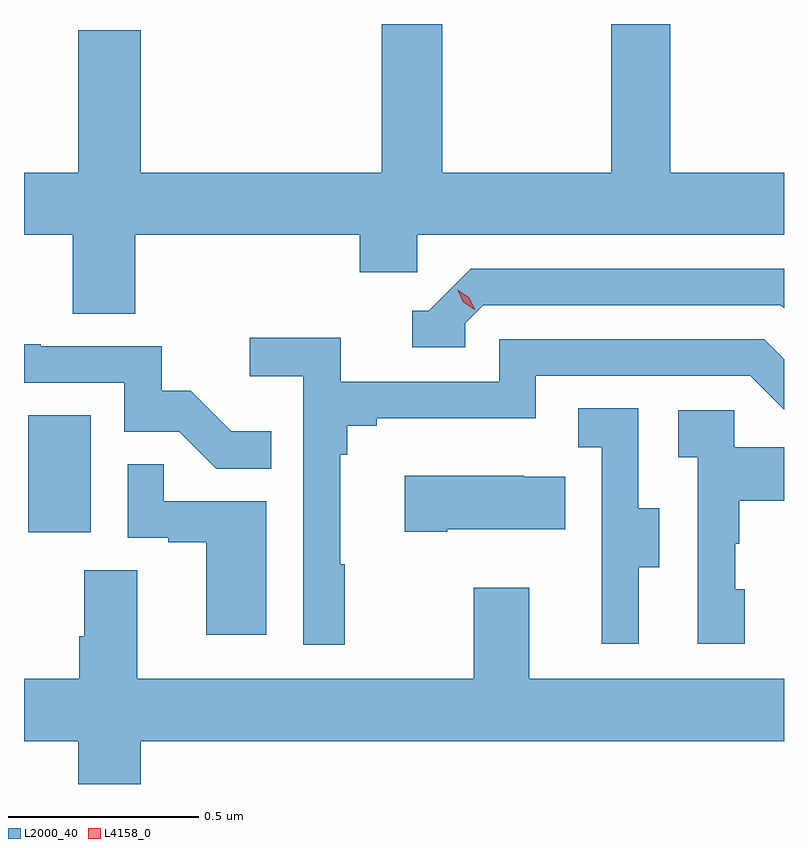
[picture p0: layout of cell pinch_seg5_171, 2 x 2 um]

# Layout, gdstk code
import gdstk
lib = gdstk.Library(unit=1e-6, precision=1e-09)
def R(c, l, rs):  # rectangles x0, y0, x1, y1
    for r in rs: c.add(gdstk.rectangle(r[:2], r[2:], *l))
def P(c, l, *ps):  # polygons
    for p in ps: c.add(gdstk.Polygon(p, *l))
L2000_40 = (2000, 40)
L4158_0 = (4158, 0)

pinch_seg5_171 = lib.new_cell('pinch_seg5_171')
R(pinch_seg5_171, L2000_40, [(1141.898,883.95,1142.062,884.257)])
P(pinch_seg5_171, L2000_40, [(1142.18,884.732),(1142.771,884.732),(1142.771,884.634),(1142.922,884.634),(1142.922,884.732),(1143.887,884.732),(1143.887,884.896),(1143.588,884.896),(1143.588,885.287),(1143.433,885.287),(1143.433,884.896),(1142.988,884.896),(1142.988,885.287),(1142.828,885.287),(1142.828,884.896),(1142.194,884.896),(1142.194,885.271),(1142.03,885.271),(1142.03,884.896),(1141.887,884.896),(1141.887,884.732),(1142.015,884.732),(1142.015,884.524),(1142.18,884.524)],
  [(1143.048,884.499),(1143.096,884.547),(1143.879,884.547),(1143.887,884.539),(1143.887,884.643),(1143.063,884.643),(1142.952,884.532),(1142.909,884.532),(1142.909,884.436),(1143.048,884.436)],
  [(1142.731,883.865),(1142.719,883.865),(1142.719,884.153),(1142.738,884.153),(1142.738,884.23),(1142.815,884.23),(1142.815,884.249),(1143.234,884.249),(1143.234,884.361),(1143.798,884.361),(1143.887,884.272),(1143.887,884.405),(1143.835,884.457),(1143.138,884.457),(1143.138,884.346),(1142.72,884.346),(1142.72,884.462),(1142.481,884.462),(1142.481,884.36),(1142.622,884.36),(1142.622,883.653),(1142.731,883.653)],
  [(1142.537,884.215),(1142.433,884.215),(1142.326,884.322),(1142.25,884.322),(1142.25,884.439),(1141.931,884.439),(1141.931,884.444),(1141.887,884.444),(1141.887,884.343),(1142.151,884.343),(1142.151,884.214),(1142.295,884.214),(1142.393,884.116),(1142.537,884.116)],
  [(1143.505,883.858),(1143.559,883.858),(1143.559,884.013),(1143.504,884.013),(1143.504,884.276),(1143.345,884.276),(1143.345,884.173),(1143.408,884.173),(1143.408,883.869),(1143.407,883.869),(1143.407,883.656),(1143.505,883.656)],
  [(1143.784,883.8),(1143.759,883.8),(1143.759,883.919),(1143.769,883.919),(1143.769,884.033),(1143.887,884.033),(1143.887,884.173),(1143.756,884.173),(1143.756,884.271),(1143.609,884.271),(1143.609,884.147),(1143.66,884.147),(1143.66,883.656),(1143.784,883.656)],
  [(1142.524,884.031),(1142.255,884.031),(1142.255,884.129),(1142.16,884.129),(1142.16,883.935),(1142.267,883.935),(1142.267,883.923),(1142.366,883.923),(1142.366,883.68),(1142.524,883.68)],
  [(1143.001,883.958),(1143.311,883.958),(1143.311,884.095),(1143.203,884.095),(1143.203,884.098),(1142.889,884.098),(1142.889,883.951),(1143.001,883.951)],
  [(1142.194,883.4),(1143.887,883.4),(1143.887,883.564),(1143.217,883.564),(1143.217,883.804),(1143.07,883.804),(1143.07,883.564),(1142.185,883.564),(1142.185,883.85),(1142.045,883.85),(1142.045,883.676),(1142.033,883.676),(1142.033,883.564),(1141.887,883.564),(1141.887,883.4),(1142.03,883.4),(1142.03,883.287),(1142.194,883.287)])
P(pinch_seg5_171, L4158_0, [(1143.073,884.535),(1143.043,884.555),(1143.028,884.587),(1143.028,884.588),(1143.028,884.588),(1143.058,884.568),(1143.074,884.535),(1143.074,884.535)])

lib.write_gds('pinch_seg5_171.gds')
